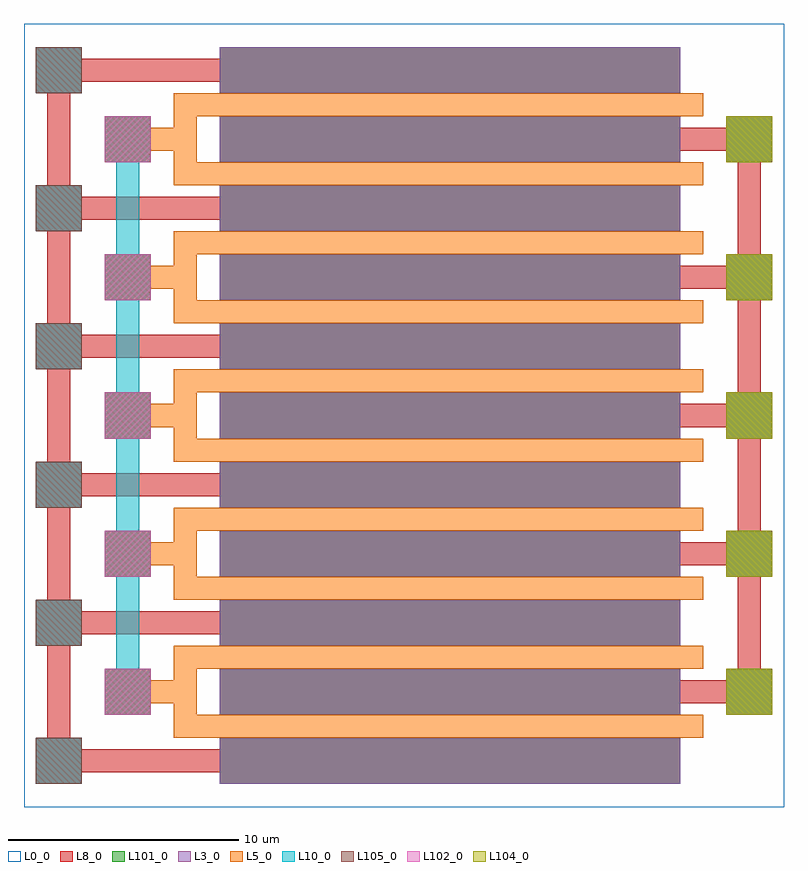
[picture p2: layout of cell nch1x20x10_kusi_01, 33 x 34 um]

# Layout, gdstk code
import gdstk
lib = gdstk.Library(unit=1e-6, precision=1e-09)
def R(c, l, rs):  # rectangles x0, y0, x1, y1
    for r in rs: c.add(gdstk.rectangle(r[:2], r[2:], *l))
def A(c, l, x, y, w, h, nx, ny, dx, dy):  # array of equal rectangles
    R(c, l, [(x+i*dx, y+j*dy, x+i*dx+w, y+j*dy+h) for i in range(nx) for j in range(ny)])
def P(c, l, *ps):  # polygons
    for p in ps: c.add(gdstk.Polygon(p, *l))
L0_0 = (0, 0)
L3_0 = (3, 0)
L5_0 = (5, 0)
L8_0 = (8, 0)
L10_0 = (10, 0)
L101_0 = (101, 0)
L102_0 = (102, 0)
L104_0 = (104, 0)
L105_0 = (105, 0)

nch1x20x10_kusi_01 = lib.new_cell('nch1x20x10_kusi_01')
R(nch1x20x10_kusi_01, L0_0, [(0,0,33,34)])
A(nch1x20x10_kusi_01, L3_0, 8.5, 1, 20, 2, 1, 11, 0, 3)
P(nch1x20x10_kusi_01, L5_0, [(3.5,28),(5.5,28),(5.5,28.5),(6.5,28.5),(6.5,27),(29.5,27),(29.5,28),(7.5,28),(7.5,30),(29.5,30),(29.5,31),(6.5,31),(6.5,29.5),(5.5,29.5),(5.5,30),(3.5,30)],
  [(3.5,22),(5.5,22),(5.5,22.5),(6.5,22.5),(6.5,21),(29.5,21),(29.5,22),(7.5,22),(7.5,24),(29.5,24),(29.5,25),(6.5,25),(6.5,23.5),(5.5,23.5),(5.5,24),(3.5,24)],
  [(3.5,16),(5.5,16),(5.5,16.5),(6.5,16.5),(6.5,15),(29.5,15),(29.5,16),(7.5,16),(7.5,18),(29.5,18),(29.5,19),(6.5,19),(6.5,17.5),(5.5,17.5),(5.5,18),(3.5,18)],
  [(3.5,10),(5.5,10),(5.5,10.5),(6.5,10.5),(6.5,9),(29.5,9),(29.5,10),(7.5,10),(7.5,12),(29.5,12),(29.5,13),(6.5,13),(6.5,11.5),(5.5,11.5),(5.5,12),(3.5,12)],
  [(3.5,4),(5.5,4),(5.5,4.5),(6.5,4.5),(6.5,3),(29.5,3),(29.5,4),(7.5,4),(7.5,6),(29.5,6),(29.5,7),(6.5,7),(6.5,5.5),(5.5,5.5),(5.5,6),(3.5,6)])
A(nch1x20x10_kusi_01, L8_0, 3.5, 4, 2, 2, 1, 5, 0, 6)
P(nch1x20x10_kusi_01, L8_0, [(0.5,1),(2.5,1),(2.5,1.5),(8.5,1.5),(8.5,1),(28.5,1),(28.5,3),(8.5,3),(8.5,2.5),(2.5,2.5),(2.5,3),(2,3),(2,7),(2.5,7),(2.5,7.5),(8.5,7.5),(8.5,7),(28.5,7),(28.5,9),(8.5,9),(8.5,8.5),(2.5,8.5),(2.5,9),(2,9),(2,13),(2.5,13),(2.5,13.5),(8.5,13.5),(8.5,13),(28.5,13),(28.5,15),(8.5,15),(8.5,14.5),(2.5,14.5),(2.5,15),(2,15),(2,19),(2.5,19),(2.5,19.5),(8.5,19.5),(8.5,19),(28.5,19),(28.5,21),(8.5,21),(8.5,20.5),(2.5,20.5),(2.5,21),(2,21),(2,25),(2.5,25),(2.5,25.5),(8.5,25.5),(8.5,25),(28.5,25),(28.5,27),(8.5,27),(8.5,26.5),(2.5,26.5),(2.5,27),(2,27),(2,31),(2.5,31),(2.5,31.5),(8.5,31.5),(8.5,31),(28.5,31),(28.5,33),(8.5,33),(8.5,32.5),(2.5,32.5),(2.5,33),(0.5,33),(0.5,31),(1,31),(1,27),(0.5,27),(0.5,25),(1,25),(1,21),(0.5,21),(0.5,19),(1,19),(1,15),(0.5,15),(0.5,13),(1,13),(1,9),(0.5,9),(0.5,7),(1,7),(1,3),(0.5,3)],
  [(8.5,4),(28.5,4),(28.5,4.5),(30.5,4.5),(30.5,4),(32.5,4),(32.5,6),(32,6),(32,10),(32.5,10),(32.5,12),(32,12),(32,16),(32.5,16),(32.5,18),(32,18),(32,22),(32.5,22),(32.5,24),(32,24),(32,28),(32.5,28),(32.5,30),(30.5,30),(30.5,29.5),(28.5,29.5),(28.5,30),(8.5,30),(8.5,28),(28.5,28),(28.5,28.5),(30.5,28.5),(30.5,28),(31,28),(31,24),(30.5,24),(30.5,23.5),(28.5,23.5),(28.5,24),(8.5,24),(8.5,22),(28.5,22),(28.5,22.5),(30.5,22.5),(30.5,22),(31,22),(31,18),(30.5,18),(30.5,17.5),(28.5,17.5),(28.5,18),(8.5,18),(8.5,16),(28.5,16),(28.5,16.5),(30.5,16.5),(30.5,16),(31,16),(31,12),(30.5,12),(30.5,11.5),(28.5,11.5),(28.5,12),(8.5,12),(8.5,10),(28.5,10),(28.5,10.5),(30.5,10.5),(30.5,10),(31,10),(31,6),(30.5,6),(30.5,5.5),(28.5,5.5),(28.5,6),(8.5,6)])
A(nch1x20x10_kusi_01, L10_0, 0.5, 1, 2, 2, 1, 6, 0, 6)
P(nch1x20x10_kusi_01, L10_0, [(3.5,4),(5.5,4),(5.5,6),(5,6),(5,10),(5.5,10),(5.5,12),(5,12),(5,16),(5.5,16),(5.5,18),(5,18),(5,22),(5.5,22),(5.5,24),(5,24),(5,28),(5.5,28),(5.5,30),(3.5,30),(3.5,28),(4,28),(4,24),(3.5,24),(3.5,22),(4,22),(4,18),(3.5,18),(3.5,16),(4,16),(4,12),(3.5,12),(3.5,10),(4,10),(4,6),(3.5,6)])
A(nch1x20x10_kusi_01, L101_0, 8.5, 1, 20, 2, 1, 11, 0, 3)
A(nch1x20x10_kusi_01, L101_0, 30.5, 4, 2, 2, 1, 5, 0, 6)
A(nch1x20x10_kusi_01, L102_0, 3.5, 4, 2, 2, 1, 5, 0, 6)
A(nch1x20x10_kusi_01, L104_0, 30.5, 4, 2, 2, 1, 5, 0, 6)
A(nch1x20x10_kusi_01, L105_0, 0.5, 1, 2, 2, 1, 6, 0, 6)
A(nch1x20x10_kusi_01, L105_0, 3.5, 4, 2, 2, 1, 5, 0, 6)

lib.write_gds('nch1x20x10_kusi_01.gds')
